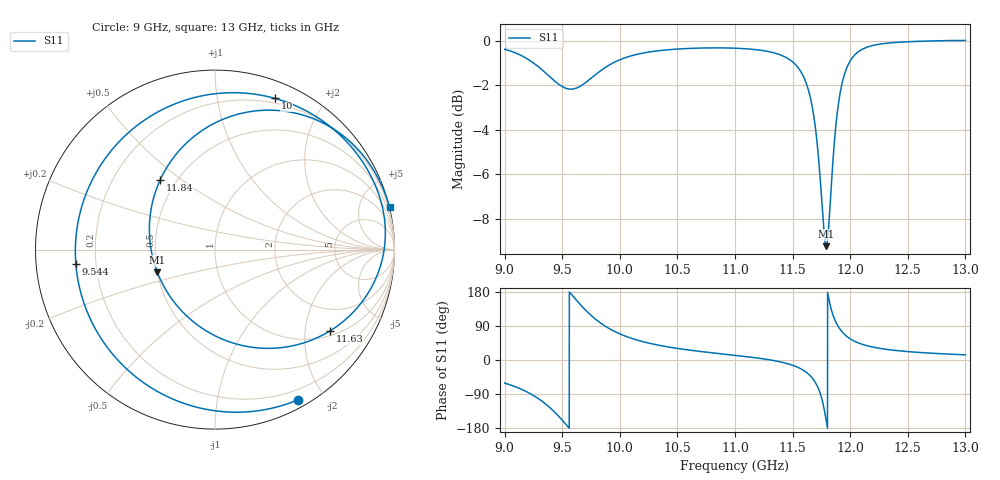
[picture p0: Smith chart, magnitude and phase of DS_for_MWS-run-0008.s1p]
! TOUCHSTONE file generated by CST DESIGN STUDIO
! Date and time: Tue Feb  4 13:43:02 2025
! Project name: C:\Work\MatlabApps\UnitCellOptimizationMatlab\CST\unitcell.cst
! Tree item: Tasks\Sweep1\SPara1\S-Parameters
! Header version: 2024
! Port assignment regex: !\s*Touchstone port\s*([0-9]+)\s*=\s*(CST MWS port|CST DES external port|CST DES block port)\s*(.+)\s* \(\"(.*)\"\)(\s*mode\s*([0-9]+))?.*
! Touchstone port assignment:
! Touchstone port 1 = CST DES external port 1 ("")
# GHz S MA R 50
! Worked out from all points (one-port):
!   4001 points, 9 GHz to 13 GHz, reference 50 ohm
!   lowest |S11| = -9.2 dB at 11.79 GHz (marker M1), VSWR 2.05, Z = 25 - j7.18 ohm
!   |S11| at or under -10 dB: nowhere
!   S11 on the Smith chart (normalised r, x): 9 GHz: 0.09, -1.70; 9.544 GHz: 0.12, -0.05; 10 GHz: 0.15, +1.46; 11.63 GHz: 1.15, -2.72; 11.84 GHz: 0.41, +0.42; 13 GHz: -0.01, +8.40
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9  0.956 -60.9
9.145  0.9252 -77.1
9.296  0.872 -102.5
9.399  0.826 -127.3
9.5  0.788 -158.6
9.544  0.7795 -173.9
9.638  0.7849 152.8
9.759  0.8261 115.5
9.864  0.8664 91.1
10  0.9053 69.0
10.004  0.9062 68.4
10.215  0.9386 47.2
10.5  0.9569 30.5
11  0.9611 12.3
11.304  0.943 0.3
11.5  0.8954 -13.9
11.63  0.7852 -35.2
11.678  0.6919 -50.6
11.725  0.5455 -76.1
11.758  0.4182 -107.3
11.791  0.3451 -158.5
11.841  0.4952 128.0
11.872  0.6301 102.4
11.905  0.7416 84.2
12  0.9 55.9
12.173  0.9712 35.7
12.5  0.9937 22.2
13  1 13.6
